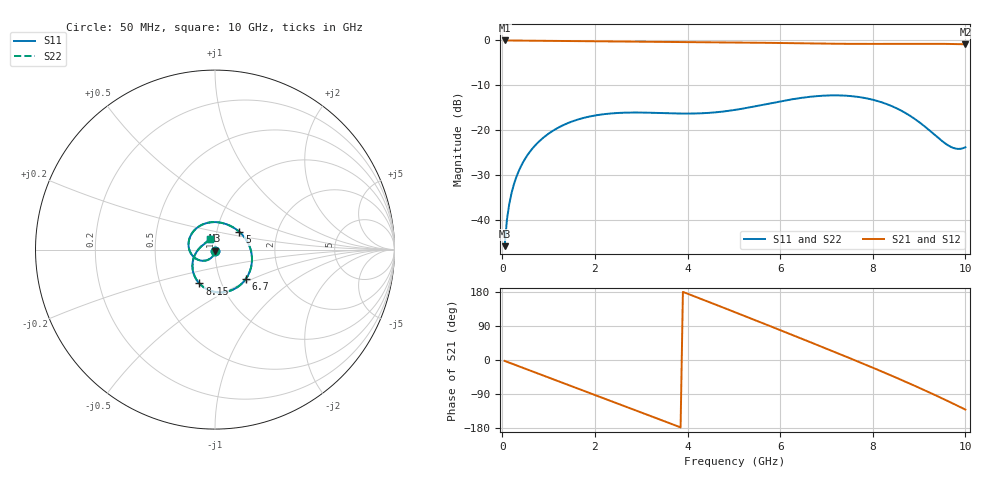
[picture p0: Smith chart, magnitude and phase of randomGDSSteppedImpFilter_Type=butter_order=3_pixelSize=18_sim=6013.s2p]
! freq	dB(S11)	phase(S11)	dB(S12)	phase(S12)
!  dB(S21)	phase(S21)	dB(S22)	phase(S22)
!S-par simulation data
#  GHz  S  DB  R 50
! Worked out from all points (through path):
!   200 points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, 50 MHz to 10 GHz, reference 50 ohm
!   highest |S21| = 0.00 dB at 50 MHz (marker M1); lowest = -0.9 dB at 10 GHz (marker M2)
!   group delay of S21, straight-line fit = 135 ps
!   lowest |S11| = -45.8 dB at 50 MHz (marker M3), VSWR 1.01, Z = 50 - j0.511 ohm
!   |S11| at or under -10 dB: start of sweep to end of sweep
!   |S22| runs from -45.8 to -12.2 dB; largest |S21 - S12| = 0
!   S11 on the Smith chart (normalised r, x): 50 MHz: 1.00, -0.01; 5 GHz: 1.28, +0.26; 6.7 GHz: 1.32, -0.46; 8.15 GHz: 0.79, -0.31; 10 GHz: 0.93, +0.11
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0.05  -45.83 -90.0  -0.00 -2.4  -0.00 -2.4  -45.83 -89.9
0.1  -39.93 -93.4  -0.01 -4.7  -0.01 -4.7  -39.93 -93.4
0.2  -33.99 -99.0  -0.02 -9.3  -0.02 -9.3  -33.99 -99.0
0.5  -26.23 -113.7  -0.04 -23.2  -0.04 -23.2  -26.23 -113.8
1.15  -19.76 -144.0  -0.11 -53.2  -0.11 -53.2  -19.77 -144.3
1.75  -17.27 -171.9  -0.17 -80.7  -0.17 -80.7  -17.27 -172.0
2.55  -16.13 151.2  -0.24 -117.4  -0.24 -117.4  -16.11 151.1
3.4  -16.17 111.7  -0.30 -156.8  -0.30 -156.8  -16.16 111.4
4.2  -16.26 74.0  -0.36 165.5  -0.36 165.5  -16.27 73.8
5  -15.51 36.2  -0.44 127.3  -0.44 127.3  -15.51 36.2
5.05  -15.43 33.9  -0.44 124.9  -0.44 124.9  -15.43 33.8
5.45  -14.69 15.0  -0.49 105.6  -0.49 105.6  -14.69 15.1
5.85  -13.88 -3.9  -0.55 86.2  -0.55 86.2  -13.87 -3.7
6.25  -13.12 -22.8  -0.62 66.7  -0.62 66.7  -13.12 -22.5
6.7  -12.50 -44.2  -0.68 44.6  -0.68 44.6  -12.49 -43.8
7.45  -12.33 -80.2  -0.76 7.5  -0.76 7.5  -12.32 -79.7
8.15  -13.64 -114.8  -0.76 -28.0  -0.76 -28.0  -13.64 -114.3
8.35  -14.37 -125.1  -0.75 -38.4  -0.75 -38.4  -14.37 -124.6
8.8  -16.75 -149.4  -0.73 -62.4  -0.73 -62.4  -16.77 -149.2
9.2  -19.82 -173.8  -0.73 -84.4  -0.73 -84.4  -19.85 -174.2
9.7  -23.78 146.2  -0.79 -113.0  -0.79 -113.0  -23.76 143.2
10  -23.80 118.2  -0.86 -130.9  -0.86 -130.9  -23.62 113.7
